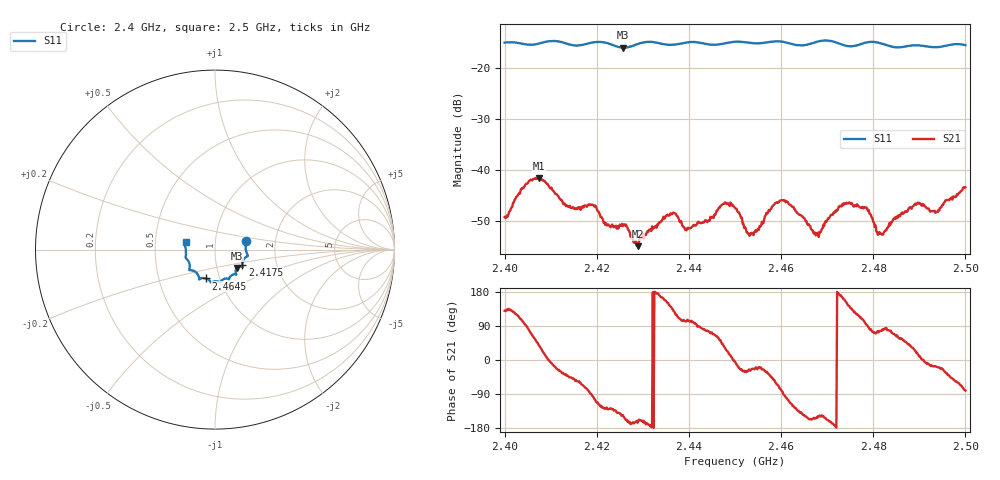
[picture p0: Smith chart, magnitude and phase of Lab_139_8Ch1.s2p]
# Hz S RI R 50
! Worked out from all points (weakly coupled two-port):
!   601 points, 2.4 GHz to 2.5 GHz, reference 50 ohm
!   highest |S21| = -41.58 dB at 2.4075 GHz (marker M1); lowest = -55.0 dB at 2.429 GHz (marker M2)
!   lowest |S11| = -15.9 dB at 2.4257 GHz (marker M3), VSWR 1.38, Z = 62.5 - j13.1 ohm
!   |S11| at or under -10 dB: start of sweep to end of sweep
!   S12 and S22 are empty: the file has one direction only
!   S11 on the Smith chart (normalised r, x): 2.4 GHz: 1.41, +0.14; 2.4175 GHz: 1.34, -0.23; 2.4645 GHz: 0.86, -0.28; 2.5 GHz: 0.72, +0.06
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2.4e9  0.1727 0.0491  -0.00222 0.00265  0 0  0 0
2.404167e9  0.1722 0.0235  -0.000943 0.00666  0 0  0 0
2.4075e9  0.1755 -0.0158  0.00659 0.0051  0 0  0 0
2.416667e9  0.1528 -0.0739  0.0019 -0.00391  0 0  0 0
2.4175e9  0.1517 -0.0834  0.00131 -0.00429  0 0  0 0
2.425667e9  0.1229 -0.1022  -0.00231 -0.0016  0 0  0 0
2.429e9  0.1152 -0.1309  -0.00168 -0.000613  0 0  0 0
2.433333e9  0.113 -0.1373  -0.00289 0.00024  0 0  0 0
2.436667e9  0.0894 -0.1461  -0.00242 0.00296  0 0  0 0
2.439667e9  0.0794 -0.162  -0.000746 0.00259  0 0  0 0
2.45e9  0.0287 -0.1808  0.00423 -0.000398  0 0  0 0
2.4535e9  0.0141 -0.1774  0.00211 -0.001  0 0  0 0
2.460167e9  -0.0244 -0.1816  0.000696 -0.00503  0 0  0 0
2.4645e9  -0.0515 -0.1606  -0.00271 -0.00224  0 0  0 0
2.466667e9  -0.0758 -0.1595  -0.00237 -0.00101  0 0  0 0
2.474333e9  -0.1001 -0.1327  -0.00407 0.00243  0 0  0 0
2.4785e9  -0.1385 -0.1148  -0.000281 0.00428  0 0  0 0
2.481167e9  -0.1429 -0.1082  0.00069 0.00226  0 0  0 0
2.483333e9  -0.1408 -0.0901  0.000556 0.00275  0 0  0 0
2.4895e9  -0.1633 -0.0432  0.0044 0.00155  0 0  0 0
2.493833e9  -0.1619 -0.00416  0.0037 -0.00123  0 0  0 0
2.5e9  -0.1638 0.0434  0.00109 -0.00669  0 0  0 0
